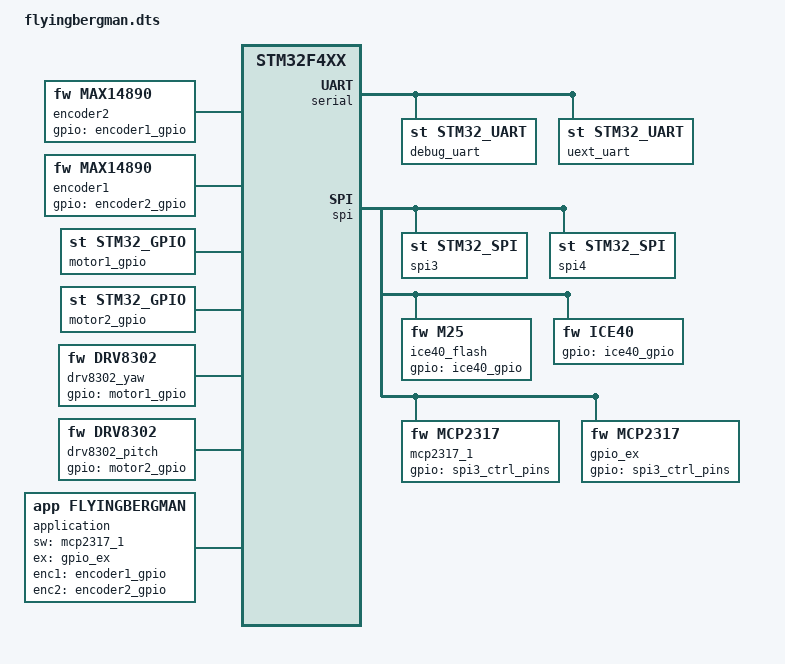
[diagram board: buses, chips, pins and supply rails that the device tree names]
/dts-v1/;

//!+HOST: arm-none-eabi
//!+TARGET: stm32f429zet6
//:ROM 512k :RAM 192k :LOAD_ADDR 0x08000000
//!+DEPENDS: libfdt libfirmware libdriver libflyingbergman
//!+CFLAGS: --specs=nosys.specs -mcpu=cortex-m4 -mthumb -mlittle-endian -mfpu=fpv4-sp-d16 -mfloat-abi=hard -mthumb-interwork -DSTM32F429_439xx -DHSE_VALUE=8000000
//!+LDFLAGS:
//!+CMD_FLASH: st-flash --reset write ##FILE## 0x8000000
#include <libfirmware/dts/stm32f4xx.dtsi>
#include <libfirmware/dts/stm32f4xx.h>
#include <libfirmware/dts/stm32f4xx_gpio.h>
#include <libfirmware/dts/stm32f4xx_tim.h>
#include <libfirmware/dts/stm32f4xx_adc.h>
#include <libfirmware/dts/canopen.h>
#include <libdriver/dts/mcp2317.h>
#include "dts/flyingbergman.h"

/ {
	cpu {
		/* SystemCoreClock = ((HSE_VALUE / PLL_M) * PLL_N) / PLL_P; */
		/* USBClock = ((HSE_VALUE / PLL_M) * PLL_N) / PLL_Q; */
		compatible = "st,stm32_cpu";
		hse_value = <8000000>;
		hclk_div = <1>;
		pclk1_div = <1>;
		pclk2_div = <1>;
		pllm = <8>;
		plln = <336>;
		pllp = <2>;
		pllq = <7>;
	};

	events: events {
		compatible = "fw,events";
		priority = <5>;
	};

	serial {
		debug_uart: debug {
			compatible = "st,stm32_uart";
			baud = <921600>;
			reg = <USART1>;
			interrupt = <USART1_IRQn>;
			printk_port = <1>;
			insert-cr-before-lf = <1>;
		};
		uext_uart: uext_uart {
			compatible = "st,stm32_uart";
			baud = <921600>;
			reg = <UART8>;
			interrupt = <UART8_IRQn>;

			uext_uart_serial_pins {
				compatible = "st,stm32_gpio";
				pinctrl = <
					GPIOE GPIO_Pin_0 (GPIO_AF_UART8 | GPIO_OType_PP | GPIO_PuPd_UP | GPIO_Speed_50MHz) /* RX */
					GPIOE GPIO_Pin_1 (GPIO_AF_UART8 | GPIO_OType_PP | GPIO_PuPd_NOPULL | GPIO_Speed_50MHz) /* TX */
				>;
			};
		};
	};

	regmap: regmap {
		compatible = "fw,regmap";
	};

	console: console {
		compatible = "fw,console";
		serial = <&uext_uart>;
		regmap = <&regmap>;
	};

	leds: leds {
		compatible = "st,stm32_leds";
		pins = <&led_pins>;
	};

	gpio {
		compatible = "st,stm32_gpio";
		debug_serial_pins {
			pinctrl = <
				GPIOA GPIO_Pin_9 (GPIO_AF_USART1 | GPIO_OType_PP | GPIO_PuPd_NOPULL | GPIO_Speed_50MHz) /* TX */
				GPIOA GPIO_Pin_10 (GPIO_AF_USART1 | GPIO_OType_PP | GPIO_PuPd_UP | GPIO_Speed_50MHz) /* RX */
			>;
		};

		led_pins: led_pins {
			pinctrl = <
				GPIOA GPIO_Pin_8 GPIO_Mode_OUT
			>;
		};
	};

	ice40_gpio: ice40_gpio {
		compatible = "st,stm32_gpio";
		pinctrl = <
			GPIOF GPIO_Pin_0 (GPIO_Mode_OUT | GPIO_OType_PP | GPIO_PuPd_UP | GPIO_Speed_100MHz) /* CRESET */
			GPIOF GPIO_Pin_1 (GPIO_Mode_IN | GPIO_PuPd_UP | GPIO_Speed_100MHz) /* CDONE */
			GPIOE GPIO_Pin_4 (GPIO_Mode_OUT| GPIO_OType_OD | GPIO_PuPd_UP | GPIO_Speed_100MHz)  /* CS */
			GPIOE GPIO_Pin_3 (GPIO_Mode_OUT | GPIO_OType_PP | GPIO_Speed_100MHz) /* PWR */
		>;
		defaults = <0 1 1 1>;
	};

	spi {
		spi3: spi3 {
			compatible = "st,stm32_spi";
			reg = <SPI3>;
			pins {
				compatible = "st,stm32_gpio";
				pinctrl = <
					GPIOC GPIO_Pin_10 (GPIO_AF_SPI3 | GPIO_OType_PP | GPIO_PuPd_UP | GPIO_Speed_100MHz) /* SCK */
					GPIOC GPIO_Pin_11 (GPIO_AF_SPI3 | GPIO_OType_OD | GPIO_PuPd_DOWN | GPIO_Speed_100MHz) /* MISO */
					GPIOC GPIO_Pin_12 (GPIO_AF_SPI3 | GPIO_OType_PP | GPIO_PuPd_UP | GPIO_Speed_100MHz) /* MOSI */
				>;
			};
			spi3_ctrl_pins: spi3_ctrl_pins {
				compatible = "st,stm32_gpio";
				pinctrl = <
					GPIOG GPIO_Pin_15 (GPIO_Mode_OUT | GPIO_OType_OD | GPIO_PuPd_UP | GPIO_Speed_100MHz) /*GPEX_CS*/
					GPIOG GPIO_Pin_3 (GPIO_Mode_OUT | GPIO_OType_OD | GPIO_PuPd_UP | GPIO_Speed_100MHz)  /*GPIO_CS*/
					GPIOG GPIO_Pin_4 (GPIO_Mode_OUT | GPIO_OType_PP | GPIO_PuPd_UP | GPIO_Speed_100MHz)  /*GPIO_RESET*/
					GPIOD GPIO_Pin_3 (GPIO_Mode_OUT | GPIO_OType_PP | GPIO_PuPd_UP | GPIO_Speed_100MHz)  /*GPEX_RESET*/
					GPIOD GPIO_Pin_2 (GPIO_Mode_IN | GPIO_OType_OD | GPIO_PuPd_UP | GPIO_Speed_100MHz)  /*GPEX_INTA*/
					GPIOD GPIO_Pin_6 (GPIO_Mode_IN | GPIO_OType_OD | GPIO_PuPd_UP | GPIO_Speed_100MHz)  /*GPEX_INTB*/
				>;
				defaults = <1 1 1 1 1 1>;
			};

			encoder1_gpio: encoder1_gpio {
				compatible = "st,stm32_gpio";
				pinctrl = <
					GPIOD GPIO_Pin_4 (GPIO_Mode_OUT| GPIO_OType_OD | GPIO_PuPd_UP | GPIO_Speed_100MHz)  /* CS */
					GPIOD GPIO_Pin_5 (GPIO_Mode_IN | GPIO_PuPd_UP | GPIO_Speed_100MHz) /* ENCSH1 (P40) */
					GPIOF GPIO_Pin_6 (GPIO_Mode_IN | GPIO_PuPd_UP | GPIO_Speed_100MHz) /* PWM_IN1 (P39) */
				>;
				defaults = <1 1 1>;
			};

			encoder2_gpio: encoder2_gpio {
				compatible = "st,stm32_gpio";
				pinctrl = <
					GPIOD GPIO_Pin_15 (GPIO_Mode_OUT| GPIO_OType_OD | GPIO_PuPd_UP | GPIO_Speed_100MHz)  /* CS */
					GPIOD GPIO_Pin_11 (GPIO_Mode_IN | GPIO_PuPd_UP | GPIO_Speed_100MHz) /* ENCSH2 (P44) */
					GPIOF GPIO_Pin_7 (GPIO_Mode_IN | GPIO_PuPd_UP | GPIO_Speed_100MHz) /* PWM_IN2 (P43) */
				>;
				defaults = <1 1 1>;
			};

		};

		spi4: spi4 {
			compatible = "st,stm32_spi";
			reg = <SPI4>;
			pins {
				compatible = "st,stm32_gpio";
				pinctrl = <
					GPIOE GPIO_Pin_2 (GPIO_AF_SPI4 | GPIO_OType_PP | GPIO_PuPd_UP | GPIO_Speed_100MHz) /* SCK */
					GPIOE GPIO_Pin_5 (GPIO_AF_SPI4 | GPIO_OType_OD | GPIO_PuPd_DOWN | GPIO_Speed_100MHz) /* MISO */
					GPIOE GPIO_Pin_6 (GPIO_AF_SPI4 | GPIO_OType_PP | GPIO_PuPd_UP | GPIO_Speed_100MHz) /* MOSI */
				>;
			};
		};

		ice40_flash: ice40_flash {
			compatible = "fw,m25";
			spi = <&spi4>;
			gpio = <&ice40_gpio>;
			cs_pin = <2>;
		};
		
		ice40: ice40 {
			compatible = "fw,ice40";
			spi = <&spi4>;
			flash = <&ice40_flash>;
			gpio = <&ice40_gpio>;
			creset_pin = <0>;
			cdone_pin = <1>;
			cs_pin = <2>;
			pwr_pin = <3>;
		};

		mcp2317_1: gpio1 {
			compatible = "fw,mcp2317";
			spi = <&spi3>;
			gpio = <&spi3_ctrl_pins>;
			cs_pin = <1>;
			reset_pin = <2>;
			console = <&console>;
			pinctrl = <
				0 (MCP2317_DIR_IN | MCP2317_PULL_UP) 0 /* AIN_OC */
				1 (MCP2317_DIR_IN | MCP2317_PULL_UP) 0 /* ENC1_OC */
				2 (MCP2317_DIR_IN | MCP2317_PULL_UP) 0 /* ENC2_OC */
				3 (MCP2317_DIR_OUT) 0 /* EE_WEN */
				5 (MCP2317_DIR_OUT) 1 /* MOCP_RESET */
				6 (MCP2317_DIR_OUT) 1 /* MOCP_WP */
				8 (MCP2317_DIR_IN) 0 /* SW1 */
				9 (MCP2317_DIR_IN) 0 /* SW2 */
				10 (MCP2317_DIR_IN) 0 /* SW3 */
				11 (MCP2317_DIR_IN) 0 /* SW4 */
				12 (MCP2317_DIR_IN) 0 /* SW5 */
				13 (MCP2317_DIR_IN) 0 /* SW6 */
				14 (MCP2317_DIR_IN) 0 /* SW7 */
				15 (MCP2317_DIR_IN) 0 /* SW8 */
			>;
		};

		gpio_ex: gpio2 {
			compatible = "fw,mcp2317";
			spi = <&spi3>;
			gpio = <&spi3_ctrl_pins>;
			cs_pin = <0>;
			reset_pin = <3>;
			console = <&console>;
			pinctrl = <
				0 (MCP2317_DIR_OUT) 0 /* LCD_EN */
				1 (MCP2317_DIR_OUT) 0 /* LCD_READ */
				2 (MCP2317_DIR_OUT) 0 /* LCD_MDATA */
				3 (MCP2317_DIR_OUT) 0 /* LCD_LED */
				4 (MCP2317_DIR_IN | MCP2317_PULL_UP) 0 /* CAN_ADDR0 */
				5 (MCP2317_DIR_IN | MCP2317_PULL_UP) 0 /* CAN_ADDR1 */
				6 (MCP2317_DIR_IN | MCP2317_PULL_UP) 0 /* CAN_ADDR2 */
				7 (MCP2317_DIR_IN | MCP2317_PULL_UP) 0 /* CAN_ADDR3 */
				8 (MCP2317_DIR_OUT) 0 /* LCD_D0 */
				9 (MCP2317_DIR_OUT) 0 /* LCD_D1 */
				10 (MCP2317_DIR_OUT) 0 /* LCD_D2 */
				11 (MCP2317_DIR_OUT) 0 /* LCD_D3 */
				12 (MCP2317_DIR_OUT) 0 /* LCD_D4 */
				13 (MCP2317_DIR_OUT) 0 /* LCD_D5 */
				14 (MCP2317_DIR_OUT) 0 /* LCD_D6 */
				15 (MCP2317_DIR_OUT) 0 /* LCD_D7 */
			>;

		};
	};

	extleds_gpio: extleds_gpio {
		compatible = "st,stm32_gpio";
		pinctrl = <
			GPIOE GPIO_Pin_7 (GPIO_Mode_OUT | GPIO_OType_OD | GPIO_PuPd_UP | GPIO_Speed_100MHz) /* BLED_EN */
		>;
		defaults = <0>;
	};

	i2c1_gpio {
		compatible = "st,stm32_gpio";
		pinctrl = <
			GPIOB GPIO_Pin_7 (GPIO_AF_I2C1 | GPIO_OType_OD | GPIO_PuPd_UP | GPIO_Speed_2MHz)
			GPIOB GPIO_Pin_8 (GPIO_AF_I2C1 | GPIO_OType_OD | GPIO_PuPd_UP | GPIO_Speed_2MHz)
		>;
		default = <1 1>;
	};

	an_out_gpio: an_out_gpio {
		compatible = "st,stm32_gpio";
		pinctrl = <
			GPIOB GPIO_Pin_9 (GPIO_Mode_OUT | GPIO_OType_PP | GPIO_Speed_100MHz) /* AP_RESET */
		>;
		defaults = <1>;
	};

	i2c1: i2c1 {
		compatible = "st,stm32_i2c";
		reg = <I2C1>;
		baud = <100000>;

		oc_pot: oc_pot {
			compatible = "fw,mcp4461";
			i2c = <&i2c1>;
			reg = <0x2d>;
			gpio = <&mcp2317_1>;
			reset_pin = <5>;
			wp_pin = <6>;
		};

		an_out: an_out {
			compatible = "fw,mcp4461";
			i2c = <&i2c1>;
			reg = <0x2c>;
			gpio = <&an_out_gpio>;
			reset_pin = <0>;
		};

		sw_leds: extleds {
			compatible = "fw,lp55231";
			i2c = <&i2c1>;
			reg = <0x32>;
			gpio = <&extleds_gpio>;
			en_pin = <0>;
		};

		eeprom: eeprom {
			compatible = "fw,at24";
			i2c = <&i2c1>;
			reg = <0x50>;
		};
	};

	tim8: tim8 {
		compatible = "st,stm32_tim";
		reg = <TIM8>;
		mode = <TIM_CounterMode_CenterAligned1>;
		freq = <18000>;
		clock_div = <0>;
		rep_count = <1>;
		enable = <1>;
		master_mode = <TIM_MasterSlaveMode_Enable>;
		output_trigger = <TIM_TRGOSource_Update>;
		slave_mode = <TIM_SlaveMode_Reset>;
		input_trigger = <TIM_TS_ITR0>;
		dead_time = <1500>;

/*
		events {
			publisher = <&events>;
			update = <FB_EVENT_MOTOR2_UPDATE>;
		};
*/
		channel1 {
			mode = <TIM_OCMode_PWM1>;
			pout_en = <1>;
			nout_en = <1>;
			pulse = <500>;
			ppol = <0>;
			npol = <0>;
			pidle = <0>;
			nidle = <1>;
			preload = <1>;
		};
		channel2 {
			mode = <TIM_OCMode_PWM1>;
			pout_en = <1>;
			nout_en = <1>;
			pulse = <500>;
			ppol = <0>;
			npol = <0>;
			pidle = <0>;
			nidle = <1>;
			preload = <1>;
		};
		channel3 {
			mode = <TIM_OCMode_PWM1>;
			pout_en = <1>;
			nout_en = <1>;
			pulse = <500>;
			ppol = <0>;
			npol = <0>;
			pidle = <0>;
			nidle = <1>;
			preload = <1>;
		};
		gpio {
			compatible = "st,stm32_gpio";
			pinctrl = <
				GPIOA GPIO_Pin_7 (GPIO_AF_TIM8 | GPIO_OType_PP | GPIO_Speed_2MHz) /* INLA */
				GPIOC GPIO_Pin_6 (GPIO_AF_TIM8 | GPIO_OType_PP | GPIO_Speed_2MHz) /* INHA */
				GPIOB GPIO_Pin_14 (GPIO_AF_TIM8 | GPIO_OType_PP | GPIO_Speed_2MHz) /* INLB */
				GPIOC GPIO_Pin_7 (GPIO_AF_TIM8 | GPIO_OType_PP | GPIO_Speed_2MHz) /* INHB */
				GPIOB GPIO_Pin_15 (GPIO_AF_TIM8 | GPIO_OType_PP | GPIO_Speed_2MHz) /* INLC */
				GPIOC GPIO_Pin_8 (GPIO_AF_TIM8 | GPIO_OType_PP | GPIO_Speed_2MHz) /* INHC */
				GPIOA GPIO_Pin_6 (GPIO_AF_TIM8 | GPIO_Mode_IN | GPIO_PuPd_UP) /* BRKIN */
			>;
		};
	};

	tim1: tim1 {
		compatible = "st,stm32_tim";
		reg = <TIM1>;
		mode = <TIM_CounterMode_CenterAligned1>;
		freq = <18000>;
		clock_div = <0>;
		rep_count = <1>;
		master_mode = <TIM_MasterSlaveMode_Enable>;
		output_trigger = <TIM_TRGOSource_Enable>;
		dead_time = <200>;
/*
		events {
			publisher = <&events>;
			update = <FB_EVENT_MOTOR1_UPDATE>;
		};
		*/
		channel1 {
			mode = <TIM_OCMode_PWM1>;
			pout_en = <1>;
			nout_en = <1>;
			pulse = <500>;
			ppol = <0>;
			npol = <0>;
			pidle = <0>;
			nidle = <1>;
			preload = <1>;
		};
		channel2 {
			mode = <TIM_OCMode_PWM1>;
			pout_en = <1>;
			nout_en = <1>;
			pulse = <500>;
			ppol = <0>;
			npol = <0>;
			pidle = <0>;
			nidle = <1>;
			preload = <1>;
		};
		channel3 {
			mode = <TIM_OCMode_PWM1>;
			pout_en = <1>;
			nout_en = <1>;
			pulse = <500>;
			ppol = <0>;
			npol = <0>;
			pidle = <0>;
			nidle = <1>;
			preload = <1>;
		};
		gpio {
			compatible = "st,stm32_gpio";
			pinctrl = <
				GPIOE GPIO_Pin_8 (GPIO_AF_TIM1 | GPIO_OType_PP | GPIO_Speed_2MHz) /* INLA */
				GPIOE GPIO_Pin_9 (GPIO_AF_TIM1 | GPIO_OType_PP | GPIO_Speed_2MHz) /* INHA */
				GPIOE GPIO_Pin_10 (GPIO_AF_TIM1 | GPIO_OType_PP | GPIO_Speed_2MHz) /* INLB */
				GPIOE GPIO_Pin_11 (GPIO_AF_TIM1 | GPIO_OType_PP | GPIO_Speed_2MHz) /* INHB */
				GPIOE GPIO_Pin_12 (GPIO_AF_TIM1 | GPIO_OType_PP | GPIO_Speed_2MHz) /* INLC */
				GPIOE GPIO_Pin_13 (GPIO_AF_TIM1 | GPIO_OType_PP | GPIO_Speed_2MHz) /* INHC */
				GPIOE GPIO_Pin_15 (GPIO_AF_TIM1 | GPIO_Mode_IN | GPIO_PuPd_UP) /* BRKIN */
			>;
		};
	};

	adc: adc {
		compatible = "st,stm32_adc";
		prescaler = <ADC_Prescaler_Div8>;
		trigger = <ADC_ExternalTrigConv_T8_TRGO>;
		trigger_edge = <ADC_ExternalTrigConvEdge_RisingFalling>;
		console = <&console>;
		channels = <
			ADC1 ADC_Channel_3 1 ADC_SampleTime_3Cycles
			ADC2 ADC_Channel_5 1 ADC_SampleTime_3Cycles
			ADC3 ADC_Channel_14 1 ADC_SampleTime_3Cycles

			ADC1 ADC_Channel_4 2 ADC_SampleTime_3Cycles
			ADC2 ADC_Channel_14 2 ADC_SampleTime_3Cycles
			ADC3 ADC_Channel_9 2 ADC_SampleTime_3Cycles

			ADC1 ADC_Channel_10 3 ADC_SampleTime_3Cycles
			ADC2 ADC_Channel_13 3 ADC_SampleTime_3Cycles
			ADC3 ADC_Channel_15 3 ADC_SampleTime_3Cycles

			ADC1 ADC_Channel_11 4 ADC_SampleTime_3Cycles
			ADC2 ADC_Channel_15 4 ADC_SampleTime_3Cycles
			ADC3 ADC_Channel_6 4 ADC_SampleTime_3Cycles

			ADC1 ADC_Channel_12 5 ADC_SampleTime_3Cycles
			ADC2 ADC_Channel_9 5 ADC_SampleTime_3Cycles
			ADC3 ADC_Channel_15 5 ADC_SampleTime_3Cycles
		>;
		gpio {
			compatible = "st,stm32_gpio";
			pinctrl = <
				/* ADC1 */
				GPIOA GPIO_Pin_3 (GPIO_Mode_AN | GPIO_PuPd_NOPULL) /* SOB1 CH3 */
				GPIOA GPIO_Pin_4 (GPIO_Mode_AN | GPIO_PuPd_NOPULL) /* SOA1 CH4 */
				GPIOC GPIO_Pin_0 (GPIO_Mode_AN | GPIO_PuPd_NOPULL) /* VSA1 CH10 */
				GPIOC GPIO_Pin_1 (GPIO_Mode_AN | GPIO_PuPd_NOPULL) /* VSB1 CH11 */
				GPIOC GPIO_Pin_2 (GPIO_Mode_AN | GPIO_PuPd_NOPULL) /* VSC1 CH12 */
				/* ADC2 */
				GPIOA GPIO_Pin_5 (GPIO_Mode_AN | GPIO_PuPd_NOPULL) /* SOB2 CH5 */
				GPIOC GPIO_Pin_4 (GPIO_Mode_AN | GPIO_PuPd_NOPULL) /* SOA2 CH14 */
				GPIOC GPIO_Pin_3 (GPIO_Mode_AN | GPIO_PuPd_NOPULL) /* VSA2 CH13 */
				GPIOC GPIO_Pin_5 (GPIO_Mode_AN | GPIO_PuPd_NOPULL) /* VSB2 CH15 */
				GPIOB GPIO_Pin_1 (GPIO_Mode_AN | GPIO_PuPd_NOPULL) /* VSC2 CH9 */
				/* ADC3 */
				GPIOF GPIO_Pin_3 (GPIO_Mode_AN | GPIO_PuPd_NOPULL) /* VMOT CH9 */
				GPIOF GPIO_Pin_4 (GPIO_Mode_AN | GPIO_PuPd_NOPULL) /* POT CH14 */
				GPIOF GPIO_Pin_5 (GPIO_Mode_AN | GPIO_PuPd_NOPULL) /* TEMP1 CH15 */
				GPIOF GPIO_Pin_8 (GPIO_Mode_AN | GPIO_PuPd_NOPULL) /* TEMP2 CH6 */
			>;
		};
	};

	ainpwen_pins {
		compatible = "st,stm32_gpio";
		pinctrl = <
			GPIOF GPIO_Pin_2 (GPIO_Mode_OUT | GPIO_OType_OD | GPIO_PuPd_UP | GPIO_Speed_50MHz)
		>;
		defaults = <1>;
	};

	encpwen_pins {
		compatible = "st,stm32_gpio";
		pinctrl = <
			GPIOB GPIO_Pin_10 (GPIO_Mode_OUT | GPIO_OType_OD | GPIO_PuPd_UP | GPIO_Speed_50MHz)
			GPIOB GPIO_Pin_11 (GPIO_Mode_OUT | GPIO_OType_OD | GPIO_PuPd_UP | GPIO_Speed_50MHz)
		>;
		defaults = <1 1>;
	};

	encoder2 {
		compatible = "fw,max14890";
		spi = <&spi3>;
		gpio = <&encoder1_gpio>;
		cs_pin = <0>;
	};

	encoder1 {
		compatible = "fw,max14890";
		spi = <&spi3>;
		gpio = <&encoder2_gpio>;
		cs_pin = <0>;
	};

	pot_mux_gpio: pot_mux_gpio {
		compatible = "st,stm32_gpio";
		pinctrl = <
			GPIOC GPIO_Pin_13 (GPIO_Mode_OUT | GPIO_PuPd_UP | GPIO_OType_OD | GPIO_Speed_50MHz) /* A */
			GPIOC GPIO_Pin_14 (GPIO_Mode_OUT | GPIO_PuPd_UP | GPIO_OType_OD | GPIO_Speed_50MHz) /* B */
			GPIOC GPIO_Pin_15 (GPIO_Mode_OUT | GPIO_PuPd_UP | GPIO_OType_OD | GPIO_Speed_50MHz) /* C */
		>;
	};

	enc2: tim2 {
		compatible = "st,stm32_tim";
		reg = <TIM2>;
		mode = <TIM_EncoderMode_TI12>;
		gpio {
			compatible = "st,stm32_gpio";
			pinctrl = <
				GPIOA GPIO_Pin_15 (GPIO_AF_TIM2 | GPIO_Mode_IN | GPIO_PuPd_UP) /* ENCA1 */
				GPIOB GPIO_Pin_3 (GPIO_AF_TIM2 | GPIO_Mode_IN | GPIO_PuPd_UP) /* ENCB1 */
			>;
		};
	};

	tim3: tim3 {
		compatible = "st,stm32_tim";
		reg = <TIM3>;
		mode = <TIM_CounterMode_Up>;
		freq = <60000>;
		gpio {
			compatible = "st,stm32_gpio";
			pinctrl = <
				GPIOA GPIO_Pin_0 (GPIO_AF_TIM3 | GPIO_Mode_IN) /* HALLA */
				GPIOA GPIO_Pin_1 (GPIO_AF_TIM3 | GPIO_Mode_IN) /* HALLB */
				GPIOA GPIO_Pin_2 (GPIO_AF_TIM3 | GPIO_Mode_IN) /* HALLC */
			>;
		};
	};

	enc1: tim4 {
		compatible = "st,stm32_tim";
		reg = <TIM4>;
		mode = <TIM_EncoderMode_TI12>;
		gpio {
			compatible = "st,stm32_gpio";
			pinctrl = <
				GPIOD GPIO_Pin_12 (GPIO_AF_TIM4 | GPIO_Mode_IN | GPIO_PuPd_UP) /* ENCA2 */
				GPIOD GPIO_Pin_13 (GPIO_AF_TIM4 | GPIO_Mode_IN | GPIO_PuPd_UP) /* ENCB2 */
			>;
		};
	};

	tim5: tim5 {
		compatible = "st,stm32_tim";
		reg = <TIM5>;
		mode = <TIM_CounterMode_Up>;
		freq = <60000>;
		gpio {
			compatible = "st,stm32_gpio";
			pinctrl = <
				GPIOB GPIO_Pin_4 (GPIO_AF_TIM5 | GPIO_Mode_IN) /* HALLA */
				GPIOB GPIO_Pin_5 (GPIO_AF_TIM5 | GPIO_Mode_IN) /* HALLB */
				GPIOB GPIO_Pin_0 (GPIO_AF_TIM5 | GPIO_Mode_IN) /* HALLC */
			>;
		};
	};

	motor1_gpio: motor1_gpio {
		compatible = "st,stm32_gpio";
		/* order is important! */
		pinctrl = <
			GPIOF GPIO_Pin_11 (GPIO_Mode_OUT | GPIO_PuPd_NOPULL | GPIO_OType_PP | GPIO_Speed_2MHz) /* EN_GATE */
			GPIOF GPIO_Pin_13 (GPIO_Mode_OUT | GPIO_PuPd_NOPULL | GPIO_OType_PP | GPIO_Speed_2MHz) /* GAIN */
			GPIOF GPIO_Pin_14 (GPIO_Mode_OUT | GPIO_PuPd_NOPULL | GPIO_OType_PP | GPIO_Speed_2MHz) /* MOC */
			GPIOF GPIO_Pin_12 (GPIO_Mode_OUT | GPIO_PuPd_NOPULL | GPIO_OType_PP | GPIO_Speed_2MHz) /* DC_CAL */
			GPIOF GPIO_Pin_9 (GPIO_Mode_IN | GPIO_PuPd_UP) /* OCW */
			GPIOF GPIO_Pin_10 (GPIO_Mode_IN | GPIO_PuPd_UP) /* FAULT */
		>;
	};

	motor2_gpio: motor2_gpio {
		compatible = "st,stm32_gpio";
		/* order is important! */
		pinctrl = <
			GPIOD GPIO_Pin_9 (GPIO_Mode_OUT | GPIO_PuPd_NOPULL | GPIO_OType_PP | GPIO_Speed_2MHz) /* EN_GATE */
			GPIOF GPIO_Pin_15 (GPIO_Mode_OUT | GPIO_PuPd_NOPULL | GPIO_OType_PP | GPIO_Speed_2MHz) /* GAIN */
			GPIOD GPIO_Pin_8 (GPIO_Mode_OUT | GPIO_PuPd_NOPULL | GPIO_OType_PP | GPIO_Speed_2MHz) /* MOC */
			GPIOG GPIO_Pin_5 (GPIO_Mode_OUT | GPIO_PuPd_NOPULL | GPIO_OType_PP | GPIO_Speed_2MHz) /* DC_CAL */
			GPIOD GPIO_Pin_10 (GPIO_Mode_IN | GPIO_PuPd_UP) /* OCW */
			GPIOD GPIO_Pin_7 (GPIO_Mode_IN | GPIO_PuPd_UP) /* FAULT */
		>;
	};

	drv8302_yaw: drv8302_1 {
		compatible = "fw,drv8302";
		console = <&console>;
		pwm = <&tim1>;
		adc = <&adc>;
		enc = <&enc1>;
		hall = <&tim3>;
		gpio = <&motor1_gpio>;
		i_chan = <0 1>;
		v_chan = <2 3 4>;
	};

	drv8302_pitch: drv8302_2 {
		compatible = "fw,drv8302";
		console = <&console>;
		pwm = <&tim8>;
		adc = <&adc>;
		enc = <&enc2>;
		hall = <&tim5>;
		gpio = <&motor2_gpio>;
		i_chan = <0 1>;
		v_chan = <2 3 4>;
	};


	cpuinfo {
		compatible = "st,stm32_cpuinfo";
		console = <&console>;
	};

	gpio_sw {
		compatible = "st,stm32_gpio";
		pinctrl = <
			GPIOC GPIO_Pin_9 (GPIO_Mode_OUT | GPIO_OType_OD | GPIO_PuPd_UP | GPIO_Speed_2MHz)
		>;
	};

#ifdef SWAP_CAN_PORTS
	/* This is for one board that has broken CAN1 */
	can1: can1 {
		compatible = "st,stm32_can";
		reg = <CAN2>;
		prescaler = <5>;
		sjw = <1>;
		bs1 = <13>;
		bs2 = <2>;
		console = <&console>;
		can2_gpio {
			compatible = "st,stm32_gpio";
			pinctrl = <
				GPIOB GPIO_Pin_12 (GPIO_AF_CAN2 | GPIO_OType_PP | GPIO_PuPd_NOPULL | GPIO_Speed_100MHz)
				GPIOB GPIO_Pin_13 (GPIO_AF_CAN2 | GPIO_OType_PP | GPIO_PuPd_NOPULL | GPIO_Speed_100MHz)
			>;
		};
	};
	can2: can2 {
		compatible = "st,stm32_can";
		reg = <CAN1>;
		prescaler = <10>;
		sjw = <1>;
		bs1 = <13>;
		bs2 = <2>;
		console = <&console>;
		can1_gpio {
			compatible = "st,stm32_gpio";
			pinctrl = <
				GPIOD GPIO_Pin_0 (GPIO_AF_CAN1 | GPIO_OType_PP | GPIO_PuPd_NOPULL | GPIO_Speed_100MHz)
				GPIOD GPIO_Pin_1 (GPIO_AF_CAN1 | GPIO_OType_PP | GPIO_PuPd_NOPULL | GPIO_Speed_100MHz)
			>;
		};
	};
#else
	/* This is normal configuration */
	can1: can1 {
		compatible = "st,stm32_can";
		reg = <CAN1>;
		prescaler = <12>;
		sjw = <1>;
		bs1 = <11>;
		bs2 = <2>;
		console = <&console>;
		can1_gpio {
			compatible = "st,stm32_gpio";
			pinctrl = <
				GPIOD GPIO_Pin_0 (GPIO_AF_CAN1 | GPIO_OType_PP | GPIO_PuPd_NOPULL | GPIO_Speed_100MHz)
				GPIOD GPIO_Pin_1 (GPIO_AF_CAN1 | GPIO_OType_PP | GPIO_PuPd_NOPULL | GPIO_Speed_100MHz)
			>;
		};
	};

	can2: can2 {
		compatible = "st,stm32_can";
		reg = <CAN2>;
		prescaler = <5>;
		sjw = <1>;
		bs1 = <13>;
		bs2 = <2>;
		console = <&console>;
		can2_gpio {
			compatible = "st,stm32_gpio";
			pinctrl = <
				GPIOB GPIO_Pin_12 (GPIO_AF_CAN2 | GPIO_OType_PP | GPIO_PuPd_NOPULL | GPIO_Speed_100MHz)
				GPIOB GPIO_Pin_13 (GPIO_AF_CAN2 | GPIO_OType_PP | GPIO_PuPd_NOPULL | GPIO_Speed_100MHz)
			>;
		};
	};
#endif

	canopen: canopen {
		compatible = "fw,canopen";
		mode = <CANOPEN_MODE_SLAVE>;
		can = <&can1>;
		address = <0x0>;
		regmap = <&regmap>;
		console = <&console>;
	};

	usb_gpio {
		compatible = "st,stm32_gpio";
		pinctrl = <
			GPIOA GPIO_Pin_11 (GPIO_AF_OTG_FS | GPIO_OType_PP | GPIO_PuPd_NOPULL | GPIO_Speed_100MHz)
			GPIOA GPIO_Pin_12 (GPIO_AF_OTG_FS | GPIO_OType_PP | GPIO_PuPd_NOPULL | GPIO_Speed_100MHz)
		>;
	};

	usb_fs: usb_fs {
		compatible = "st,usb-serial";
		console = <&console>;
	};

	vcp_con {
		compatible = "fw,console";
		serial = <&usb_fs>;
	};

/*
	regmap_slave: regmap_slave {
		compatible = "fw,regmap";
	};

	canopen_slave: canopen_slave {
		compatible = "fw,canopen";
		mode = <CANOPEN_MODE_SLAVE>;
		address = <0x02>;
		can = <&can2>;
		regmap = <&regmap_slave>;
	};
*/

	application {
		compatible = "app,flyingbergman";
		leds = <&leds>;
		console = <&console>;
		sw_gpio = <&mcp2317_1>;
		gpio_ex = <&gpio_ex>;
		sw_pins = <8 9 10 11 12 13 14 15>;
		sw_leds = <&sw_leds>;
		adc = <&adc>;
		mot_x = <&tim1>;
		mot_y = <&tim8>;
		mux = <&pot_mux_gpio>;
		enc1 = <&enc1>;
		enc1_gpio = <&encoder1_gpio>;
		enc2 = <&enc2>;
		enc2_gpio = <&encoder2_gpio>;
		eeprom = <&eeprom>;
		oc_pot = <&oc_pot>;
		an_out = <&an_out>;
		can1 = <&can1>;
		can2 = <&can2>;
		regmap = <&regmap>;
		canopen = <&canopen>;
		flash = <&ice40_flash>;
		//canopen_slave = <&canopen_slave>;
		drv_pitch = <&drv8302_pitch>;
		drv_yaw = <&drv8302_yaw>;
		events = <&events>;
		//debug_gpio = <&uext_gpio>;
		//canopen_slave = <&canopen_slave>;
		//regmap_slave = <&regmap_slave>;
	};
};
